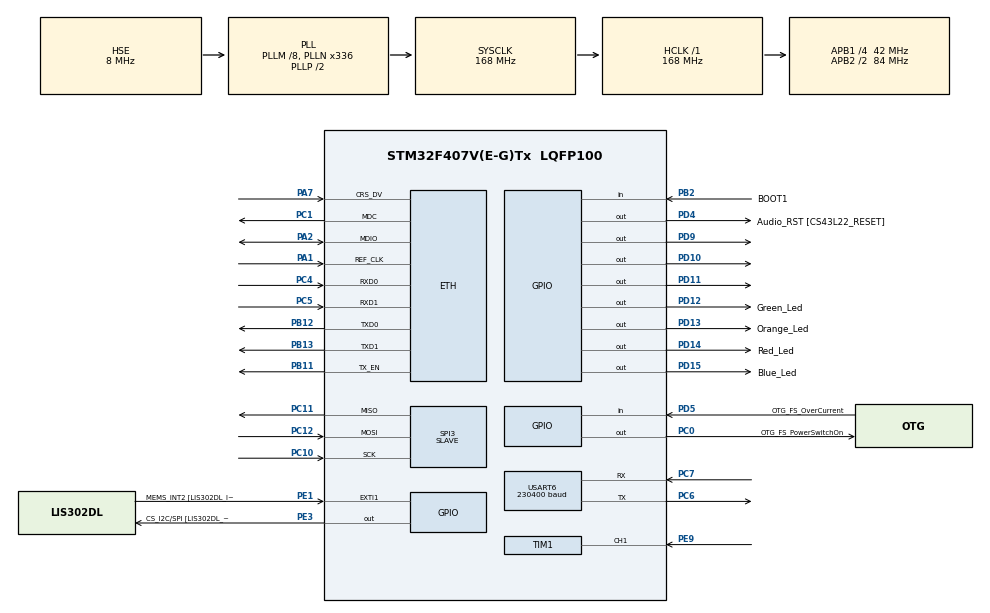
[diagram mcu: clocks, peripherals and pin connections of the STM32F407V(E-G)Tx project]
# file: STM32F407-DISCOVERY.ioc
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Dma.Request0=USART6_TX
Dma.Request1=SPI3_RX
Dma.Request2=SPI3_TX
Dma.SPI3_RX.1.Direction=DMA_PERIPH_TO_MEMORY
Dma.SPI3_RX.1.FIFOMode=DMA_FIFOMODE_DISABLE
Dma.SPI3_RX.1.Instance=DMA1_Stream0
Dma.SPI3_RX.1.MemDataAlignment=DMA_MDATAALIGN_BYTE
Dma.SPI3_RX.1.MemInc=DMA_MINC_ENABLE
Dma.SPI3_RX.1.Mode=DMA_NORMAL
Dma.SPI3_RX.1.PeriphDataAlignment=DMA_PDATAALIGN_BYTE
Dma.SPI3_RX.1.PeriphInc=DMA_PINC_DISABLE
Dma.SPI3_RX.1.Priority=DMA_PRIORITY_VERY_HIGH
Dma.SPI3_TX.2.Direction=DMA_MEMORY_TO_PERIPH
Dma.SPI3_TX.2.FIFOMode=DMA_FIFOMODE_DISABLE
Dma.SPI3_TX.2.Instance=DMA1_Stream5
Dma.SPI3_TX.2.MemDataAlignment=DMA_MDATAALIGN_BYTE
Dma.SPI3_TX.2.MemInc=DMA_MINC_ENABLE
Dma.SPI3_TX.2.Mode=DMA_NORMAL
Dma.SPI3_TX.2.PeriphDataAlignment=DMA_PDATAALIGN_BYTE
Dma.SPI3_TX.2.PeriphInc=DMA_PINC_DISABLE
Dma.SPI3_TX.2.Priority=DMA_PRIORITY_HIGH
Dma.USART6_TX.0.Direction=DMA_MEMORY_TO_PERIPH
Dma.USART6_TX.0.FIFOMode=DMA_FIFOMODE_DISABLE
Dma.USART6_TX.0.Instance=DMA2_Stream6
Dma.USART6_TX.0.MemDataAlignment=DMA_MDATAALIGN_BYTE
Dma.USART6_TX.0.MemInc=DMA_MINC_ENABLE
Dma.USART6_TX.0.Mode=DMA_NORMAL
Dma.USART6_TX.0.PeriphDataAlignment=DMA_PDATAALIGN_BYTE
Dma.USART6_TX.0.PeriphInc=DMA_PINC_DISABLE
Dma.USART6_TX.0.Priority=DMA_PRIORITY_HIGH
ETH.MACAddr=00\:13\:37\:01\:23\:46
ETH.MediaInterface=ETH_MEDIA_INTERFACE_RMII
LWIP.GATEWAY_ADDRESS=192.168.001.001
LWIP.IP_ADDRESS=192.168.001.101
LWIP.LWIP_DHCP=0
LWIP.LWIP_RAW=1
LWIP.LWIP_TCP=0
LWIP.LWIP_TIMERS=0
LWIP.LWIP_UDPLITE=1
LWIP.MEMP_NUM_LOCALHOSTLIST=5
LWIP.MEMP_NUM_TCP_SEG=24
LWIP.NETMASK_ADDRESS=255.255.255.000
LWIP.TCP_MSS=460
LWIP.TCP_SND_BUF=1840
LWIP.TCP_WND=2048
LWIP.Version=v2.1.2_Cube
Mcu.Family=STM32F4
Mcu.Name=STM32F407V(E-G)Tx
Mcu.Package=LQFP100
NVIC.DMA1_Stream0_IRQn=true\:0\:0\:false\:false\:true\:false\:true
NVIC.DMA1_Stream5_IRQn=true\:0\:0\:false\:false\:true\:false\:true
NVIC.DMA2_Stream6_IRQn=true\:0\:0\:false\:false\:true\:false\:true
NVIC.ETH_IRQn=true\:0\:0\:false\:false\:true\:true\:true
NVIC.PriorityGroup=NVIC_PRIORITYGROUP_4
NVIC.SPI3_IRQn=true\:0\:0\:false\:false\:true\:true\:true
NVIC.TIM1_BRK_TIM9_IRQn=true\:0\:0\:false\:false\:true\:true\:true
NVIC.TIM1_CC_IRQn=true\:0\:0\:false\:false\:true\:true\:true
NVIC.TIM1_TRG_COM_TIM11_IRQn=true\:0\:0\:false\:false\:true\:true\:true
NVIC.TIM1_UP_TIM10_IRQn=true\:0\:0\:false\:false\:true\:true\:true
NVIC.USART6_IRQn=true\:0\:0\:false\:false\:true\:true\:true
PA1.Mode=RMII
PA1.Signal=ETH_REF_CLK
PA10.GPIO_Label=OTG_FS_ID
PA10.GPIO_Mode=GPIO_MODE_AF_PP
PA10.GPIO_PuPd=GPIO_NOPULL
PA10.GPIO_Speed=GPIO_SPEED_FREQ_LOW
PA10.Signal=USB_OTG_FS_ID
PA11.GPIO_Label=OTG_FS_DM
PA11.GPIO_Mode=GPIO_MODE_AF_PP
PA11.GPIO_PuPd=GPIO_NOPULL
PA11.GPIO_Speed=GPIO_SPEED_FREQ_LOW
PA11.Signal=USB_OTG_FS_DM
PA12.GPIO_Label=OTG_FS_DP
PA12.GPIO_Mode=GPIO_MODE_AF_PP
PA12.GPIO_PuPd=GPIO_NOPULL
PA12.GPIO_Speed=GPIO_SPEED_FREQ_LOW
PA12.Signal=USB_OTG_FS_DP
PA13.GPIO_Label=SWDIO
PA13.Mode=Serial_Wire
PA13.Signal=SYS_JTMS-SWDIO
PA14.GPIO_Label=SWCLK
PA14.Mode=Serial_Wire
PA14.Signal=SYS_JTCK-SWCLK
PA2.Mode=RMII
PA2.Signal=ETH_MDIO
PA7.Mode=RMII
PA7.Signal=ETH_CRS_DV
PA9.GPIO_Label=VBUS_FS
PA9.GPIO_Mode=GPIO_MODE_INPUT
PA9.GPIO_PuPd=GPIO_NOPULL
PA9.Signal=USB_OTG_FS_VBUS
PB11.Mode=RMII
PB11.Signal=ETH_TX_EN
PB12.Mode=RMII
PB12.Signal=ETH_TXD0
PB13.Mode=RMII
PB13.Signal=ETH_TXD1
PB2.GPIO_Label=BOOT1
PB2.GPIO_Mode=GPIO_MODE_INPUT
PB2.GPIO_PuPd=GPIO_NOPULL
PB2.Signal=GPIO_Input
PB3.GPIO_Label=SWO
PB3.Signal=SYS_JTDO-SWO
PB6.GPIO_Label=Audio_SCL [CS43L22_SCL]
PB6.GPIO_Mode=GPIO_MODE_AF_OD
PB6.GPIO_Pu=GPIO_PULLUP
PB6.GPIO_PuPd=GPIO_NOPULL
PB6.GPIO_Speed=GPIO_SPEED_FREQ_LOW
PB6.Signal=I2C1_SCL
PB9.GPIO_Label=Audio_SDA [CS43L22_SDA]
PB9.GPIO_Mode=GPIO_MODE_AF_OD
PB9.GPIO_Pu=GPIO_PULLUP
PB9.GPIO_PuPd=GPIO_NOPULL
PB9.GPIO_Speed=GPIO_SPEED_FREQ_LOW
PB9.Signal=I2C1_SDA
PC0.GPIO_Label=OTG_FS_PowerSwitchOn
PC0.GPIO_PuPd=GPIO_NOPULL
PC0.GPIO_Speed=GPIO_SPEED_FREQ_LOW
PC0.PinState=GPIO_PIN_SET
PC0.Signal=GPIO_Output
PC1.Mode=RMII
PC1.Signal=ETH_MDC
PC10.GPIO_PuPd=GPIO_PULLDOWN
PC10.Mode=Full_Duplex_Slave
PC10.Signal=SPI3_SCK
PC11.GPIO_PuPd=GPIO_PULLUP
PC11.Mode=Full_Duplex_Slave
PC11.Signal=SPI3_MISO
PC12.GPIO_PuPd=GPIO_PULLDOWN
PC12.Mode=Full_Duplex_Slave
PC12.Signal=SPI3_MOSI
PC14-OSC32_IN.GPIO_Label=PC14-OSC32_IN
PC14-OSC32_IN.Mode=LSE-External-Oscillator
PC14-OSC32_IN.Signal=RCC_OSC32_IN
PC15-OSC32_OUT.GPIO_Label=PC15-OSC32_OUT
PC15-OSC32_OUT.Mode=LSE-External-Oscillator
PC15-OSC32_OUT.Signal=RCC_OSC32_OUT
PC4.Mode=RMII
PC4.Signal=ETH_RXD0
PC5.Mode=RMII
PC5.Signal=ETH_RXD1
PC6.Mode=Asynchronous
PC6.Signal=USART6_TX
PC7.Mode=Asynchronous
PC7.Signal=USART6_RX
PD10.GPIO_Speed=GPIO_SPEED_FREQ_VERY_HIGH
PD10.PinState=GPIO_PIN_RESET
PD10.Signal=GPIO_Output
PD11.GPIO_Speed=GPIO_SPEED_FREQ_VERY_HIGH
PD11.PinState=GPIO_PIN_SET
PD11.Signal=GPIO_Output
PD12.GPIO_Label=Green_Led
PD12.GPIO_PuPd=GPIO_NOPULL
PD12.GPIO_Speed=GPIO_SPEED_FREQ_VERY_HIGH
PD12.Signal=GPIO_Output
PD13.GPIO_Label=Orange_Led
PD13.GPIO_PuPd=GPIO_NOPULL
PD13.GPIO_Speed=GPIO_SPEED_FREQ_VERY_HIGH
PD13.Signal=GPIO_Output
PD14.GPIO_Label=Red_Led
PD14.GPIO_PuPd=GPIO_NOPULL
PD14.GPIO_Speed=GPIO_SPEED_FREQ_VERY_HIGH
PD14.Signal=GPIO_Output
PD15.GPIO_Label=Blue_Led
PD15.GPIO_PuPd=GPIO_NOPULL
PD15.GPIO_Speed=GPIO_SPEED_FREQ_VERY_HIGH
PD15.Signal=GPIO_Output
PD4.GPIO_Label=Audio_RST [CS43L22_RESET]
PD4.GPIO_PuPd=GPIO_NOPULL
PD4.GPIO_Speed=GPIO_SPEED_FREQ_LOW
PD4.Signal=GPIO_Output
PD5.GPIO_Label=OTG_FS_OverCurrent
PD5.GPIO_Mode=GPIO_MODE_INPUT
PD5.GPIO_PuPd=GPIO_NOPULL
PD5.Signal=GPIO_Input
PD9.GPIO_PuPd=GPIO_PULLDOWN
PD9.GPIO_Speed=GPIO_SPEED_FREQ_VERY_HIGH
PD9.Signal=GPIO_Output
PE1.GPIO_Label=MEMS_INT2 [LIS302DL_INT2]
PE1.GPIO_ModeDefaultEXTI=GPIO_MODE_EVT_RISING
PE1.GPIO_PuPd=GPIO_NOPULL
PE1.Signal=GPXTI1
PE3.GPIO_Label=CS_I2C/SPI [LIS302DL_CS_I2C/SPI]
PE3.GPIO_PuPd=GPIO_NOPULL
PE3.GPIO_Speed=GPIO_SPEED_FREQ_LOW
PE3.Signal=GPIO_Output
PE9.Signal=S_TIM1_CH1
PH0-OSC_IN.GPIO_Label=PH0-OSC_IN
PH0-OSC_IN.Mode=HSE-External-Oscillator
PH0-OSC_IN.Signal=RCC_OSC_IN
PH1-OSC_OUT.GPIO_Label=PH1-OSC_OUT
PH1-OSC_OUT.Mode=HSE-External-Oscillator
PH1-OSC_OUT.Signal=RCC_OSC_OUT
ProjectManager.HeapSize=0x2000
ProjectManager.StackSize=0x4000
ProjectManager.TargetToolchain=STM32CubeIDE
RCC.48MHZClocksFreq_Value=48000000
RCC.AHBFreq_Value=168000000
RCC.APB1CLKDivider=RCC_HCLK_DIV4
RCC.APB1Freq_Value=42000000
RCC.APB1TimFreq_Value=84000000
RCC.APB2CLKDivider=RCC_HCLK_DIV2
RCC.APB2Freq_Value=84000000
RCC.APB2TimFreq_Value=168000000
RCC.CortexFreq_Value=168000000
RCC.HCLKFreq_Value=168000000
RCC.HSE_VALUE=8000000
RCC.HSI_VALUE=16000000
RCC.PLLM=8
RCC.PLLN=336
RCC.PLLQ=7
RCC.PLLSourceVirtual=RCC_PLLSOURCE_HSE
RCC.SYSCLKFreq_VALUE=168000000
RCC.SYSCLKSource=RCC_SYSCLKSOURCE_PLLCLK
RCC.VCOOutputFreq_Value=336000000
SH.S_TIM1_CH1.0=TIM1_CH1,TriggerSource_TI1FP1
SH.S_TIM1_CH1.1=TIM1_CH1,Input_Capture1_from_TI1
SPI3.Direction=SPI_DIRECTION_2LINES
SPI3.Mode=SPI_MODE_SLAVE
SPI3.VirtualType=VM_SLAVE
TIM1.Channel-Input_Capture1_from_TI1=TIM_CHANNEL_1
TIM1.ICPolarity_CH1=TIM_INPUTCHANNELPOLARITY_FALLING
TIM1.Period=20710
USART6.BaudRate=230400
USART6.VirtualMode=VM_ASYNC
VP_LWIP_VS_Enabled.Mode=Enabled
VP_TIM1_VS_ClockSourceINT.Mode=Internal
VP_TIM1_VS_ControllerModeReset.Mode=Reset Mode
board=STM32F407G-DISC1

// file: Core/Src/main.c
/* USER CODE BEGIN Header */
/**
  ******************************************************************************
  * @file           : main.c
  * @brief          : Main program body
  ******************************************************************************
  * @attention
  *
  * Copyright (c) 2023 STMicroelectronics.
  * All rights reserved.
  *
  * This software is licensed under terms that can be found in the LICENSE file
  * in the root directory of this software component.
  * If no LICENSE file comes with this software, it is provided AS-IS.
  *
  ******************************************************************************
  */

/* USER CODE END Header */
#include "main.h"
#include "lwip.h"

/* USER CODE BEGIN Includes */
#include "stdio.h"
#include "stdarg.h"
#include "net.h"
/* USER CODE END Includes */

/* USER CODE BEGIN PTD */
#define delayUS_ASM(us) do {                           \
asm volatile ("MOV R0,%[loops]\n                       \
              1: \n                                    \
              SUB R0, #1\n                             \
              CMP R0, #0\n                             \
              BNE 1b \t"                               \
              : : [loops] "r" (34*us) : "memory"        \
              );                                       \
} while(0)

/* USER CODE END PTD */

SPI_HandleTypeDef hspi3;
DMA_HandleTypeDef hdma_spi3_rx;
DMA_HandleTypeDef hdma_spi3_tx;

TIM_HandleTypeDef htim1;

UART_HandleTypeDef huart6;
DMA_HandleTypeDef hdma_usart6_tx;

/* USER CODE BEGIN PV */
uint32_t countF0 = 0;
uint8_t capture = 0;
volatile uint8_t send = 0;
volatile uint8_t receive = 0;
uint8_t tim3end = 0;
uint8_t dmaEnd = 0;
extern struct netif gnetif;
extern char str[30];
uint8_t rxBuf[MAX_PACKET_LEN + 1];
uint8_t txBuf[MAX_PACKET_LEN + 1];
uint8_t testReceive[MAX_PACKET_LEN] = {0x55, 0xff, 0x55, 0xff, 0x55, 0xff, 0x55, 0xff, 0x55,
                                       0xff, 0x55, 0xff, 0xff, 0xff, 0xff, 0xff };
/* USER CODE END PV */

void SystemClock_Config(void);
static void MX_GPIO_Init(void);
static void MX_DMA_Init(void);
static void MX_USART6_UART_Init(void);
static void MX_SPI3_Init(void);
static void MX_TIM1_Init(void);
/* USER CODE BEGIN PFP */
void packetSendUDP();
void UART_Printf(const char* fmt, ...);
void HAL_TIM_PeriodElapsedCallback(TIM_HandleTypeDef *htim)
{
// Этот обратный вызов автоматически вызывается HAL при возникновении события UEV
    if(htim->Instance == TIM1) //check if the interrupt comes from TIM1
    {
        ++capture;
        HAL_GPIO_WritePin(GPIOD, GPIO_PIN_10, GPIO_PIN_SET);
        HAL_GPIO_WritePin(GPIOD, GPIO_PIN_10, GPIO_PIN_RESET);

//        HAL_GPIO_WritePin(GPIOD, GPIO_PIN_11, GPIO_PIN_SET);
//        HAL_GPIO_WritePin(GPIOD, GPIO_PIN_11, GPIO_PIN_RESET);
        if (capture == 2)
        {
            HAL_SPI_TransmitReceive(&hspi3, txBuf , rxBuf, MAX_PACKET_LEN, 0x1000);
            memcpy(txBuf, rxBuf + 1, MAX_PACKET_LEN);
            HAL_GPIO_WritePin(GPIOD, GPIO_PIN_11, GPIO_PIN_SET);
//            packetSendUDP();
            HAL_GPIO_WritePin(GPIOD, GPIO_PIN_11, GPIO_PIN_RESET);
        }
        if (capture == 1)
        {
            HAL_GPIO_WritePin(GPIOD, GPIO_PIN_9, GPIO_PIN_SET);
            HAL_GPIO_WritePin(GPIOD, GPIO_PIN_9, GPIO_PIN_RESET);
            receive = 1;
            send = 0;

        }
    }

}

void HAL_SPI_TxCpltCallback(SPI_HandleTypeDef *hspi)
{
    if(hspi->Instance == SPI3)
    {
        HAL_GPIO_WritePin(GPIOD, GPIO_PIN_9, GPIO_PIN_SET);
        HAL_GPIO_WritePin(GPIOD, GPIO_PIN_9, GPIO_PIN_RESET);
    }
}
void HAL_SPI_RxCpltCallback(SPI_HandleTypeDef *hspi)
{
//    if(hspi->Instance == SPI3)
//    {
//        HAL_GPIO_WritePin(GPIOD, GPIO_PIN_11, GPIO_PIN_SET);
//        HAL_GPIO_WritePin(GPIOD, GPIO_PIN_11, GPIO_PIN_RESET);
//    }
}
    uint8_t buf[16];
void HAL_TIM_IC_CaptureCallback(TIM_HandleTypeDef *htim)
{
    capture = 0;
    receive = 0;

    HAL_GPIO_WritePin(GPIOD, GPIO_PIN_11, GPIO_PIN_SET);
    HAL_GPIO_WritePin(GPIOD, GPIO_PIN_11, GPIO_PIN_RESET);

//     send = 1;
//     packetSendUDP();

}

/* USER CODE END PFP */

int main(void)
{

  /* MCU Configuration--------------------------------------------------------*/

  /* Reset of all peripherals, Initializes the Flash interface and the Systick. */
  HAL_Init();

  /* Configure the system clock */
  SystemClock_Config();

  /* Initialize all configured peripherals */
  MX_GPIO_Init();
  MX_DMA_Init();
  MX_USART6_UART_Init();
  MX_LWIP_Init();
  MX_SPI3_Init();
  MX_TIM1_Init();
  /* USER CODE BEGIN 2 */
    udp_client_connect();
  /* USER CODE END 2 */

  /* Infinite loop */
  /* USER CODE BEGIN WHILE */

//    uint8_t beginPacket = 0;
//    uint8_t singleByte = 0;

    /* USER CODE END WHILE */

    /* USER CODE BEGIN 3 */

    HAL_TIM_Base_Start_IT(&htim1);
    HAL_TIM_IC_Start_IT(&htim1, TIM_CHANNEL_1);
    UART_Printf("Start\r\n");

while (1)
{
#if(0)
    f4DISCOVERY2
    Весь код в функции void HAL_TIM_IC_CaptureCallback(TIM_HandleTypeDef *htim)
    SPI1 - (режим Full duplex Slave) получаем данные
            SYN - PA5  (синхро с телефона)
            MOSI - PB5 (DSTI сигнал с телефона)
            MISO - PA6 (Подмена DSTO - то что получали из линии)

    SPI2 - тестовая выдача данных (режим Full duplex Slave)
            SYN - PB10  (синхро с телефона)
            MISO - PC2  (тестовая выдача)

    SPI1 SPI2 отключил теперь SPI3
            SYN - PC10
            MOSI - PC12
            MISO - PC11

F0 подаем на вход таймера TIM12 (PB14) и по переднему входу захват и переход в обработчик
F0 подаем на вход таймера TIM1 (PE9) и по переднему входу захват и переход в обработчик

Между F0 - 125 мкс - 32 канала по 8 бит  - 256 бит
Контроллер воспринимает как 64 байта (в два раза чаще)
Считываем 16 байт (в реальности это 8 байт - 8 каналов) используется у нас только 4 или 5 каналов

#endif

    if (receive == 1)
            ethernetif_input(&gnetif);

//    if (send == 1)
//        packetSendUDP();

//    GPIOD->ODR = 0b0100000000000000; // оно же в hex 0x4000, оно же в dec 16384, оно же сдвиг (1 << 14)
//    HAL_Delay(200);
//    GPIOD->ODR = 0b0010000000000000; //  оно же сдвиг (1 << 13)
//    HAL_Delay(200);

}//while (1)
  /* USER CODE END 3 */
}

void SystemClock_Config(void)
{
  RCC_OscInitTypeDef RCC_OscInitStruct = {0};
  RCC_ClkInitTypeDef RCC_ClkInitStruct = {0};

  /** Configure the main internal regulator output voltage
  */
  __HAL_RCC_PWR_CLK_ENABLE();
  __HAL_PWR_VOLTAGESCALING_CONFIG(PWR_REGULATOR_VOLTAGE_SCALE1);
  /** Initializes the RCC Oscillators according to the specified parameters
  * in the RCC_OscInitTypeDef structure.
  */
  RCC_OscInitStruct.OscillatorType = RCC_OSCILLATORTYPE_HSE;
  RCC_OscInitStruct.HSEState = RCC_HSE_ON;
  RCC_OscInitStruct.PLL.PLLState = RCC_PLL_ON;
  RCC_OscInitStruct.PLL.PLLSource = RCC_PLLSOURCE_HSE;
  RCC_OscInitStruct.PLL.PLLM = 8;
  RCC_OscInitStruct.PLL.PLLN = 336;
  RCC_OscInitStruct.PLL.PLLP = RCC_PLLP_DIV2;
  RCC_OscInitStruct.PLL.PLLQ = 7;
  if (HAL_RCC_OscConfig(&RCC_OscInitStruct) != HAL_OK)
  {
    Error_Handler();
  }
  /** Initializes the CPU, AHB and APB buses clocks
  */
  RCC_ClkInitStruct.ClockType = RCC_CLOCKTYPE_HCLK|RCC_CLOCKTYPE_SYSCLK
                              |RCC_CLOCKTYPE_PCLK1|RCC_CLOCKTYPE_PCLK2;
  RCC_ClkInitStruct.SYSCLKSource = RCC_SYSCLKSOURCE_PLLCLK;
  RCC_ClkInitStruct.AHBCLKDivider = RCC_SYSCLK_DIV1;
  RCC_ClkInitStruct.APB1CLKDivider = RCC_HCLK_DIV4;
  RCC_ClkInitStruct.APB2CLKDivider = RCC_HCLK_DIV2;

  if (HAL_RCC_ClockConfig(&RCC_ClkInitStruct, FLASH_LATENCY_5) != HAL_OK)
  {
    Error_Handler();
  }
}

static void MX_SPI3_Init(void)
{

  /* SPI3 parameter configuration*/
  hspi3.Instance = SPI3;
  hspi3.Init.Mode = SPI_MODE_SLAVE;
  hspi3.Init.Direction = SPI_DIRECTION_2LINES;
  hspi3.Init.DataSize = SPI_DATASIZE_8BIT;
  hspi3.Init.CLKPolarity = SPI_POLARITY_LOW;
  hspi3.Init.CLKPhase = SPI_PHASE_1EDGE;
  hspi3.Init.NSS = SPI_NSS_SOFT;
  hspi3.Init.FirstBit = SPI_FIRSTBIT_MSB;
  hspi3.Init.TIMode = SPI_TIMODE_DISABLE;
  hspi3.Init.CRCCalculation = SPI_CRCCALCULATION_DISABLE;
  hspi3.Init.CRCPolynomial = 10;
  if (HAL_SPI_Init(&hspi3) != HAL_OK)
  {
    Error_Handler();
  }

}

static void MX_TIM1_Init(void)
{

  TIM_ClockConfigTypeDef sClockSourceConfig = {0};
  TIM_SlaveConfigTypeDef sSlaveConfig = {0};
  TIM_MasterConfigTypeDef sMasterConfig = {0};
  TIM_IC_InitTypeDef sConfigIC = {0};

  htim1.Instance = TIM1;
  htim1.Init.Prescaler = 0;
  htim1.Init.CounterMode = TIM_COUNTERMODE_UP;
  htim1.Init.Period = 20710;
  htim1.Init.ClockDivision = TIM_CLOCKDIVISION_DIV1;
  htim1.Init.RepetitionCounter = 0;
  htim1.Init.AutoReloadPreload = TIM_AUTORELOAD_PRELOAD_DISABLE;
  if (HAL_TIM_Base_Init(&htim1) != HAL_OK)
  {
    Error_Handler();
  }
  sClockSourceConfig.ClockSource = TIM_CLOCKSOURCE_INTERNAL;
  if (HAL_TIM_ConfigClockSource(&htim1, &sClockSourceConfig) != HAL_OK)
  {
    Error_Handler();
  }
  if (HAL_TIM_IC_Init(&htim1) != HAL_OK)
  {
    Error_Handler();
  }
  sSlaveConfig.SlaveMode = TIM_SLAVEMODE_RESET;
  sSlaveConfig.InputTrigger = TIM_TS_TI1FP1;
  sSlaveConfig.TriggerPolarity = TIM_INPUTCHANNELPOLARITY_FALLING;
  sSlaveConfig.TriggerFilter = 0;
  if (HAL_TIM_SlaveConfigSynchro(&htim1, &sSlaveConfig) != HAL_OK)
  {
    Error_Handler();
  }
  sMasterConfig.MasterOutputTrigger = TIM_TRGO_RESET;
  sMasterConfig.MasterSlaveMode = TIM_MASTERSLAVEMODE_DISABLE;
  if (HAL_TIMEx_MasterConfigSynchronization(&htim1, &sMasterConfig) != HAL_OK)
  {
    Error_Handler();
  }
  sConfigIC.ICPolarity = TIM_INPUTCHANNELPOLARITY_FALLING;
  sConfigIC.ICSelection = TIM_ICSELECTION_DIRECTTI;
  sConfigIC.ICPrescaler = TIM_ICPSC_DIV1;
  sConfigIC.ICFilter = 0;
  if (HAL_TIM_IC_ConfigChannel(&htim1, &sConfigIC, TIM_CHANNEL_1) != HAL_OK)
  {
    Error_Handler();
  }

}

static void MX_USART6_UART_Init(void)
{

  huart6.Instance = USART6;
  huart6.Init.BaudRate = 230400;
  huart6.Init.WordLength = UART_WORDLENGTH_8B;
  huart6.Init.StopBits = UART_STOPBITS_1;
  huart6.Init.Parity = UART_PARITY_NONE;
  huart6.Init.Mode = UART_MODE_TX_RX;
  huart6.Init.HwFlowCtl = UART_HWCONTROL_NONE;
  huart6.Init.OverSampling = UART_OVERSAMPLING_16;
  if (HAL_UART_Init(&huart6) != HAL_OK)
  {
    Error_Handler();
  }

}

static void MX_DMA_Init(void)
{

  /* DMA controller clock enable */
  __HAL_RCC_DMA2_CLK_ENABLE();
  __HAL_RCC_DMA1_CLK_ENABLE();

  /* DMA interrupt init */
  /* DMA1_Stream0_IRQn interrupt configuration */
  HAL_NVIC_SetPriority(DMA1_Stream0_IRQn, 0, 0);
  HAL_NVIC_EnableIRQ(DMA1_Stream0_IRQn);
  /* DMA1_Stream5_IRQn interrupt configuration */
  HAL_NVIC_SetPriority(DMA1_Stream5_IRQn, 0, 0);
  HAL_NVIC_EnableIRQ(DMA1_Stream5_IRQn);
  /* DMA2_Stream6_IRQn interrupt configuration */
  HAL_NVIC_SetPriority(DMA2_Stream6_IRQn, 0, 0);
  HAL_NVIC_EnableIRQ(DMA2_Stream6_IRQn);

}

static void MX_GPIO_Init(void)
{
  GPIO_InitTypeDef GPIO_InitStruct = {0};

  /* GPIO Ports Clock Enable */
  __HAL_RCC_GPIOE_CLK_ENABLE();
  __HAL_RCC_GPIOC_CLK_ENABLE();
  __HAL_RCC_GPIOH_CLK_ENABLE();
  __HAL_RCC_GPIOA_CLK_ENABLE();
  __HAL_RCC_GPIOB_CLK_ENABLE();
  __HAL_RCC_GPIOD_CLK_ENABLE();

  /*Configure GPIO pin Output Level */
  HAL_GPIO_WritePin(CS_I2C_SPI_GPIO_Port, CS_I2C_SPI_Pin, GPIO_PIN_RESET);

  /*Configure GPIO pin Output Level */
  HAL_GPIO_WritePin(OTG_FS_PowerSwitchOn_GPIO_Port, OTG_FS_PowerSwitchOn_Pin, GPIO_PIN_SET);

  /*Configure GPIO pin Output Level */
  HAL_GPIO_WritePin(GPIOD, GPIO_PIN_9|GPIO_PIN_10|Green_Led_Pin|Orange_Led_Pin
                          |Red_Led_Pin|Blue_Led_Pin|Audio_RST_Pin, GPIO_PIN_RESET);

  /*Configure GPIO pin Output Level */
  HAL_GPIO_WritePin(GPIOD, GPIO_PIN_11, GPIO_PIN_SET);

  /*Configure GPIO pin : CS_I2C_SPI_Pin */
  GPIO_InitStruct.Pin = CS_I2C_SPI_Pin;
  GPIO_InitStruct.Mode = GPIO_MODE_OUTPUT_PP;
  GPIO_InitStruct.Pull = GPIO_NOPULL;
  GPIO_InitStruct.Speed = GPIO_SPEED_FREQ_LOW;
  HAL_GPIO_Init(CS_I2C_SPI_GPIO_Port, &GPIO_InitStruct);

  /*Configure GPIO pin : OTG_FS_PowerSwitchOn_Pin */
  GPIO_InitStruct.Pin = OTG_FS_PowerSwitchOn_Pin;
  GPIO_InitStruct.Mode = GPIO_MODE_OUTPUT_PP;
  GPIO_InitStruct.Pull = GPIO_NOPULL;
  GPIO_InitStruct.Speed = GPIO_SPEED_FREQ_LOW;
  HAL_GPIO_Init(OTG_FS_PowerSwitchOn_GPIO_Port, &GPIO_InitStruct);

  /*Configure GPIO pin : BOOT1_Pin */
  GPIO_InitStruct.Pin = BOOT1_Pin;
  GPIO_InitStruct.Mode = GPIO_MODE_INPUT;
  GPIO_InitStruct.Pull = GPIO_NOPULL;
  HAL_GPIO_Init(BOOT1_GPIO_Port, &GPIO_InitStruct);

  /*Configure GPIO pin : PD9 */
  GPIO_InitStruct.Pin = GPIO_PIN_9;
  GPIO_InitStruct.Mode = GPIO_MODE_OUTPUT_PP;
  GPIO_InitStruct.Pull = GPIO_PULLDOWN;
  GPIO_InitStruct.Speed = GPIO_SPEED_FREQ_VERY_HIGH;
  HAL_GPIO_Init(GPIOD, &GPIO_InitStruct);

  /*Configure GPIO pins : PD10 PD11 Green_Led_Pin Orange_Led_Pin
                           Red_Led_Pin Blue_Led_Pin */
  GPIO_InitStruct.Pin = GPIO_PIN_10|GPIO_PIN_11|Green_Led_Pin|Orange_Led_Pin
                          |Red_Led_Pin|Blue_Led_Pin;
  GPIO_InitStruct.Mode = GPIO_MODE_OUTPUT_PP;
  GPIO_InitStruct.Pull = GPIO_NOPULL;
  GPIO_InitStruct.Speed = GPIO_SPEED_FREQ_VERY_HIGH;
  HAL_GPIO_Init(GPIOD, &GPIO_InitStruct);

  /*Configure GPIO pin : VBUS_FS_Pin */
  GPIO_InitStruct.Pin = VBUS_FS_Pin;
  GPIO_InitStruct.Mode = GPIO_MODE_INPUT;
  GPIO_InitStruct.Pull = GPIO_NOPULL;
  HAL_GPIO_Init(VBUS_FS_GPIO_Port, &GPIO_InitStruct);

  /*Configure GPIO pins : OTG_FS_ID_Pin OTG_FS_DM_Pin OTG_FS_DP_Pin */
  GPIO_InitStruct.Pin = OTG_FS_ID_Pin|OTG_FS_DM_Pin|OTG_FS_DP_Pin;
  GPIO_InitStruct.Mode = GPIO_MODE_AF_PP;
  GPIO_InitStruct.Pull = GPIO_NOPULL;
  GPIO_InitStruct.Speed = GPIO_SPEED_FREQ_LOW;
  GPIO_InitStruct.Alternate = GPIO_AF10_OTG_FS;
  HAL_GPIO_Init(GPIOA, &GPIO_InitStruct);

  /*Configure GPIO pin : Audio_RST_Pin */
  GPIO_InitStruct.Pin = Audio_RST_Pin;
  GPIO_InitStruct.Mode = GPIO_MODE_OUTPUT_PP;
  GPIO_InitStruct.Pull = GPIO_NOPULL;
  GPIO_InitStruct.Speed = GPIO_SPEED_FREQ_LOW;
  HAL_GPIO_Init(Audio_RST_GPIO_Port, &GPIO_InitStruct);

  /*Configure GPIO pin : OTG_FS_OverCurrent_Pin */
  GPIO_InitStruct.Pin = OTG_FS_OverCurrent_Pin;
  GPIO_InitStruct.Mode = GPIO_MODE_INPUT;
  GPIO_InitStruct.Pull = GPIO_NOPULL;
  HAL_GPIO_Init(OTG_FS_OverCurrent_GPIO_Port, &GPIO_InitStruct);

  /*Configure GPIO pins : Audio_SCL_Pin Audio_SDA_Pin */
  GPIO_InitStruct.Pin = Audio_SCL_Pin|Audio_SDA_Pin;
  GPIO_InitStruct.Mode = GPIO_MODE_AF_OD;
  GPIO_InitStruct.Pull = GPIO_PULLUP;
  GPIO_InitStruct.Speed = GPIO_SPEED_FREQ_LOW;
  GPIO_InitStruct.Alternate = GPIO_AF4_I2C1;
  HAL_GPIO_Init(GPIOB, &GPIO_InitStruct);

  /*Configure GPIO pin : MEMS_INT2_Pin */
  GPIO_InitStruct.Pin = MEMS_INT2_Pin;
  GPIO_InitStruct.Mode = GPIO_MODE_EVT_RISING;
  GPIO_InitStruct.Pull = GPIO_NOPULL;
  HAL_GPIO_Init(MEMS_INT2_GPIO_Port, &GPIO_InitStruct);

}

/* USER CODE BEGIN 4 */
void UART_Printf(const char* fmt, ...) {
    char buff[256];
    va_list args;
    va_start(args, fmt);
    vsnprintf(buff, sizeof(buff), fmt, args);
    HAL_UART_Transmit(&huart6, (uint8_t*)buff, strlen(buff),
                      HAL_MAX_DELAY);
    va_end(args);
}
/* USER CODE END 4 */

void Error_Handler(void)
{
  __disable_irq();
  while (1)
  {
  }
}
